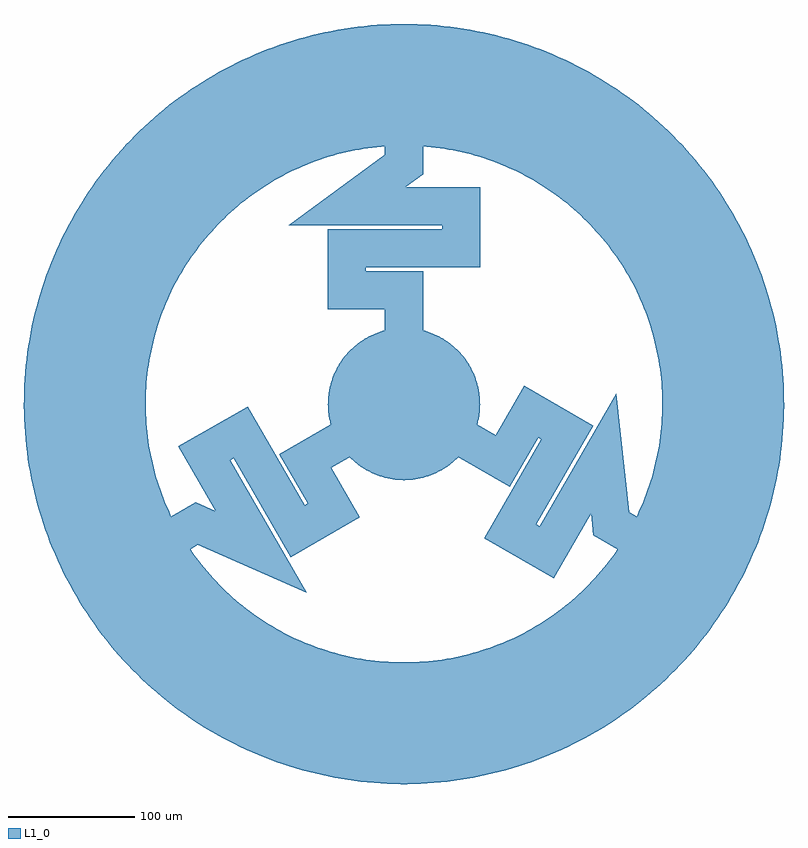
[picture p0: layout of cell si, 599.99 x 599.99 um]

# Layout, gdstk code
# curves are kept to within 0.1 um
import gdstk
lib = gdstk.Library(unit=1e-6, precision=1e-09)
def P(c, l, *ps):  # polygons
    for p in ps: c.add(gdstk.Polygon(p, *l))
L1_0 = (1, 0)

c_si = lib.new_cell('si')
P(c_si, L1_0, [(-0.525,-59.998),(-6.811,-59.612),(-11.995,-58.789),(-18.091,-57.208),(-23.022,-55.408),(-28.703,-52.689),(-34.067,-49.391),(-39.057,-45.548),(-42.888,-41.96),(-46.391,-38.051),(-50.124,-32.979),(-53.305,-27.543),(-55.508,-22.779),(-57.59,-16.835),(-58.841,-11.738),(-59.747,-5.505),(-59.995,0.788),(-59.582,7.072),(-58.736,12.252),(-57.128,18.341),(-54.891,24.228),(-52.049,29.848),(-49.241,34.283),(-45.376,39.256),(-41.772,43.071),(-37.848,46.557),(-32.759,50.268),(-27.31,53.425),(-22.536,55.607),(-17.59,57.364),(-11.48,58.892),(-5.244,59.77),(1.05,59.991),(7.332,59.55),(12.509,58.682),(17.59,57.364),(23.506,55.204),(29.163,52.436),(33.634,49.687),(38.657,45.888),(43.253,41.583),(47.374,36.82),(50.411,32.539),(53.544,27.076),(56.087,21.314),(58.012,15.318),(59.129,10.189),(59.793,4.982),(59.986,-1.313),(59.518,-7.593),(58.626,-12.766),(57.286,-17.841),(55.101,-23.747),(52.308,-29.392),(49.539,-33.851),(46.391,-38.051),(42.147,-42.704),(38.254,-46.224),(33.198,-49.979),(27.776,-53.184),(23.022,-55.408),(17.087,-57.515),(10.964,-58.99),(4.721,-59.814)],
  [(-2.625,-299.989),(-18.366,-299.437),(-34.055,-298.061),(-49.651,-295.863),(-59.975,-293.944),(-75.319,-290.391),(-90.455,-286.038),(-105.342,-280.897),(-119.939,-274.981),(-134.205,-268.308),(-143.513,-263.447),(-157.141,-255.552),(-170.336,-246.953),(-183.062,-237.673),(-191.268,-231.121),(-203.134,-220.764),(-214.44,-209.799),(-221.651,-202.166),(-231.955,-190.255),(-241.62,-177.819),(-250.62,-164.893),(-256.237,-156.021),(-264.072,-142.359),(-271.179,-128.304),(-277.539,-113.895),(-283.134,-99.172),(-287.949,-84.176),(-290.718,-74.047),(-294.204,-58.688),(-296.878,-43.167),(-298.207,-32.751),(-299.515,-17.055),(-299.997,-1.313),(-299.653,14.434),(-298.964,24.912),(-297.245,40.567),(-295.643,50.945),(-292.562,66.391),(-290.059,76.589),(-285.64,91.706),(-280.433,106.57),(-274.454,121.141),(-267.718,135.378),(-260.244,149.242),(-254.862,158.258),(-246.205,171.415),(-240.055,179.927),(-230.281,192.277),(-219.962,204),(0,204),(-10.706,203.719),(-17.829,203.219),(-24.93,202.471),(-35.522,200.884),(-42.53,199.517),(-49.487,197.907),(-59.805,195.037),(-66.594,192.824),(-73.301,190.376),(-79.919,187.694),(-86.439,184.782),(-96.017,179.991),(-105.331,174.704),(-111.381,170.91),(-117.294,166.908),(-125.892,160.522),(-131.432,156.018),(-136.812,151.323),(-142.024,146.442),(-147.062,141.382),(-154.279,133.469),(-161.071,125.188),(-165.354,119.475),(-169.434,113.614),(-175.163,104.566),(-178.715,98.372),(-182.048,92.057),(-186.629,82.376),(-189.397,75.794),(-191.934,69.119),(-195.297,58.951),(-197.24,52.08),(-198.942,45.146),(-200.4,38.156),(-201.613,31.119),(-202.968,20.495),(-203.764,9.815),(-203.982,2.678),(-203.951,-4.463),(-203.436,-15.16),(-202.781,-22.27),(-201.877,-29.353),(-200.058,-39.908),(-198.539,-46.885),(-196.777,-53.804),(-193.682,-64.057),(-191.321,-70.796),(-188.727,-77.449),(-185.901,-84.006),(-182.847,-90.46),(-177.847,-99.932),(-172.358,-109.128),(-168.433,-115.093),(-164.302,-120.917),(-157.73,-129.373),(-153.105,-134.814),(-148.293,-140.089),(-140.737,-147.679),(-135.482,-152.514),(-130.062,-157.162),(-124.482,-161.617),(-118.75,-165.875),(-109.881,-171.878),(-103.798,-175.619),(-97.589,-179.144),(-88.052,-184.018),(-78.274,-188.386),(-71.633,-191.01),(-64.904,-193.4),(-58.096,-195.553),(-51.217,-197.466),(-40.783,-199.882),(-30.236,-201.747),(-23.158,-202.681),(-16.05,-203.368),(-5.355,-203.93),(1.785,-203.992),(8.923,-203.805),(19.607,-203.056),(26.701,-202.245),(33.763,-201.187),(44.275,-199.138),(51.217,-197.466),(58.096,-195.553),(64.904,-193.4),(71.633,-191.01),(81.558,-186.987),(88.052,-184.018),(94.439,-180.824),(103.798,-175.619),(109.881,-171.878),(115.829,-167.928),(121.635,-163.771),(127.292,-159.414),(132.793,-154.862),(138.131,-150.119),(145.819,-142.663),(153.105,-134.814),(159.97,-126.593),(166.393,-118.023),(172.358,-109.128),(177.847,-99.932),(181.236,-93.646),(185.901,-84.006),(190.053,-74.134),(193.682,-64.057),(196.777,-53.804),(198.539,-46.885),(200.726,-36.401),(202.36,-25.816),(203.436,-15.16),(203.951,-4.463),(203.904,6.247),(203.561,13.379),(202.578,24.044),(201.037,34.643),(198.942,45.146),(196.298,55.524),(193.114,65.75),(190.695,72.468),(186.629,82.376),(182.048,92.057),(176.966,101.484),(171.396,110.632),(165.354,119.475),(158.856,127.988),(151.92,136.148),(147.062,141.382),(139.439,148.905),(134.143,153.694),(128.682,158.294),(123.063,162.701),(117.294,166.908),(111.381,170.91),(105.331,174.704),(99.153,178.283),(89.659,183.241),(83.192,186.266),(76.622,189.064),(66.594,192.824),(59.805,195.037),(52.943,197.01),(46.016,198.742),(39.032,200.231),(32.001,201.474),(24.93,202.471),(17.829,203.219),(10.706,203.719),(3.57,203.969),(-219.962,204),(-212.596,211.667),(-201.194,222.533),(-189.238,232.785),(-176.76,242.396),(-163.795,251.339),(-150.379,259.589),(-136.548,267.123),(-122.341,273.921),(-107.796,279.964),(-92.955,285.236),(-77.857,289.721),(-62.545,293.408),(-47.06,296.286),(-31.446,298.347),(-15.744,299.587),(0,300),(15.744,299.587),(26.219,298.852),(41.867,297.064),(57.4,294.458),(72.775,291.039),(87.949,286.819),(102.88,281.808),(112.679,278.035),(127.116,271.738),(141.202,264.692),(154.899,256.917),(168.169,248.434),(180.975,239.266),(193.283,229.438),(205.058,218.978),(212.596,211.667),(219.873,204.098),(230.281,192.277),(240.055,179.927),(249.167,167.08),(257.592,153.773),(265.308,140.042),(272.292,125.926),(276.532,116.319),(280.433,106.57),(285.64,91.706),(290.059,76.589),(293.679,61.26),(296.489,45.763),(298.482,30.14),(299.653,14.434),(299.997,-1.313),(299.515,-17.055),(298.207,-32.751),(296.878,-43.167),(294.204,-58.688),(290.718,-74.047),(287.949,-84.176),(283.134,-99.172),(277.539,-113.895),(271.179,-128.304),(264.072,-142.359),(256.237,-156.021),(250.62,-164.893),(241.62,-177.819),(231.955,-190.255),(221.651,-202.166),(210.735,-213.52),(203.134,-220.764),(191.268,-231.121),(178.874,-240.84),(165.988,-249.896),(152.645,-258.263),(143.513,-263.447),(129.489,-270.615),(115.108,-277.038),(100.41,-282.697),(85.435,-287.577),(70.225,-291.665),(54.821,-294.949),(39.266,-297.419),(23.603,-299.07),(7.875,-299.897)])
c_si.add(gdstk.FlexPath([(0,0),(0,90),(-45,90),(-45,123),(45,123),(45,156),(-45,156),(-45,156),(0,189),(0,204)], 30, ends="flush", simple_path=True, layer=1, datatype=0))  # L1_0
c_si.add(gdstk.FlexPath([(0,0),(-77.942,-45),(-55.442,-83.971),(-84.021,-100.471),(-129.021,-22.529),(-157.6,-39.029),(-112.6,-116.971),(-112.6,-116.971),(-163.679,-94.5),(-176.669,-102)], 30, ends="flush", simple_path=True, layer=1, datatype=0))  # L1_0
c_si.add(gdstk.FlexPath([(0,0),(77.942,-45),(100.442,-6.029),(129.021,-22.529),(84.021,-100.471),(112.6,-116.971),(157.6,-39.029),(157.6,-39.029),(163.679,-94.5),(176.669,-102)], 30, ends="flush", simple_path=True, layer=1, datatype=0))  # L1_0

lib.write_gds('si.gds')
